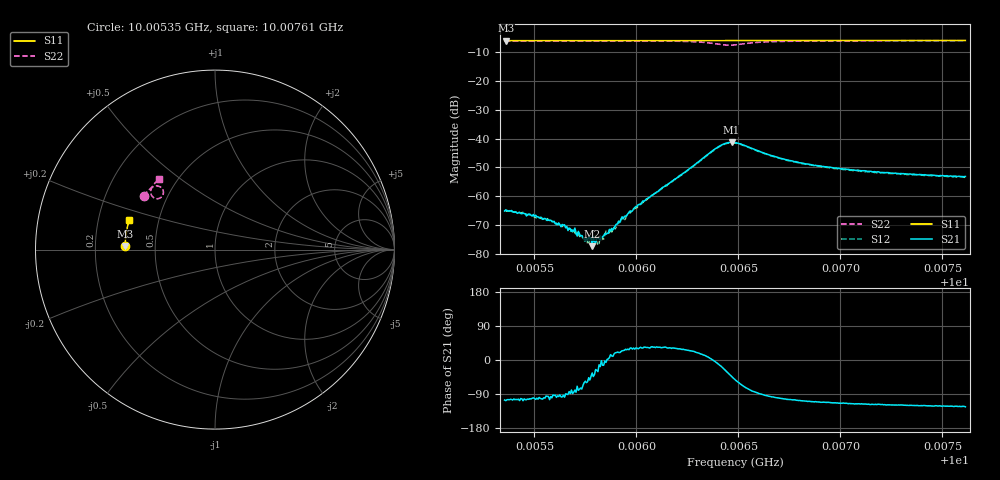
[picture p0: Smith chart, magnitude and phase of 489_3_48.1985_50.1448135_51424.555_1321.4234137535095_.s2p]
#  HZ  S  RI  R  50.00
! Rohde & Schwarz Vector Network Analyzer
! Rohde-Schwarz,ZNB20-2Port,1311601062101988,3.16
! Created: UTC 3/20/2024, 11:58:00 AM
! freq[Hz]  re:S11  im:S11  re:S21  im:S21  re:S12  im:S12  re:S22  im:S22
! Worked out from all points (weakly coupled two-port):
!   401 points, 10.00535 GHz to 10.00761 GHz, reference 50 ohm
!   highest |S21| = -41.32 dB at 10.00647 GHz (marker M1); lowest = -77.4 dB at 10.00578 GHz (marker M2)
!   lowest |S11| = -6.0 dB at 10.00536 GHz (marker M3), VSWR 3.01, Z = 16.6 + j0.898 ohm
!   |S11| at or under -10 dB: nowhere
!   |S22| runs from -7.6 to -6.0 dB; largest |S21 - S12| = 0.00053
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1.0005354e10  -0.5005 0.0199  -0.000149 -0.000534  -9.61e-05 -0.000559  -0.3965 0.2978
1.0005359e10  -0.5004 0.0202  -0.000171 -0.000553  -0.00012 -0.000537  -0.3963 0.2982
1.0005483e10  -0.5003 0.0284  -0.000102 -0.000453  -9.71e-05 -0.000461  -0.391 0.3056
1.0005574e10  -0.5 0.0344  -9.5e-05 -0.000366  -5.28e-05 -0.000378  -0.387 0.3109
1.0005647e10  -0.4999 0.0389  -4.54e-05 -0.000316  -2.86e-05 -0.000307  -0.3836 0.3155
1.0005732e10  -0.4995 0.0447  4.8e-05 -0.000202  5.55e-05 -0.000192  -0.3794 0.3206
1.0005755e10  -0.4995 0.046  9.39e-05 -0.000161  9.8e-05 -0.000184  -0.3783 0.322
1.0005783e10  -0.4993 0.048  0.000112 -7.61e-05  0.000124 -0.000107  -0.3769 0.3237
1.0005794e10  -0.4993 0.0486  0.000126 -0.000101  0.000145 -7.99e-05  -0.376 0.3244
1.0005817e10  -0.4992 0.0501  0.000176 -3.99e-05  0.000144 -3.78e-05  -0.3749 0.3259
1.0005862e10  -0.499 0.053  0.000226 1.18e-05  0.000249 4.85e-05  -0.3721 0.3288
1.000589e10  -0.499 0.0549  0.000268 7.7e-05  0.000274 8.55e-05  -0.3704 0.3307
1.0005924e10  -0.4987 0.0569  0.000369 0.000148  0.000354 0.00017  -0.3684 0.3329
1.0005997e10  -0.4983 0.0617  0.000564 0.000349  0.000502 0.000372  -0.3631 0.3379
1.000611e10  -0.4974 0.0691  0.00105 0.000701  0.00102 0.000705  -0.3529 0.3457
1.0006393e10  -0.4946 0.0872  0.00681 -0.00084  0.00671 -0.000457  -0.2899 0.3319
1.0006466e10  -0.4938 0.0914  0.00625 -0.00591  0.00642 -0.00544  -0.3032 0.2888
1.0006483e10  -0.4937 0.0923  0.00524 -0.00669  0.00552 -0.00628  -0.3138 0.2845
1.0006703e10  -0.4921 0.1065  -0.000871 -0.00448  -0.000634 -0.00448  -0.3576 0.3288
1.0006862e10  -0.4901 0.1165  -0.00119 -0.00328  -0.00102 -0.0033  -0.3507 0.3482
1.000724e10  -0.4846 0.1404  -0.00121 -0.00223  -0.00107 -0.00223  -0.3307 0.3748
1.0007613e10  -0.4782 0.1635  -0.00121 -0.00184  -0.00105 -0.00184  -0.3113 0.3942
